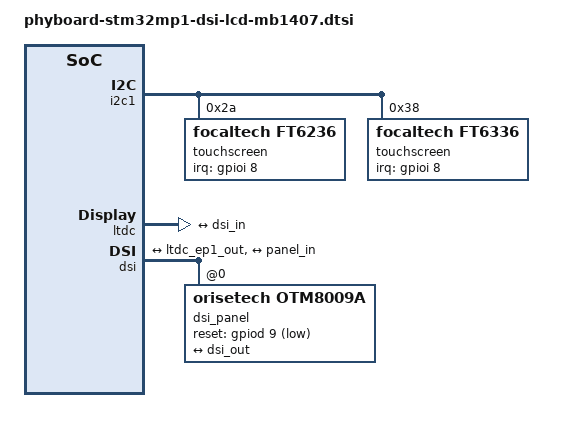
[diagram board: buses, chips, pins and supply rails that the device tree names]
// SPDX-License-Identifier: (GPL-2.0+ OR BSD-3-Clause)
/*
 * Copyright (C) PHYTEC GmbH 2019 - All Rights Reserved
 * Author: Dom VOVARD <dom.vovard@linrt.com>.
 */


&i2c1 {
        status = "okay";
        touchscreen@2a {
                compatible = "focaltech,ft6236";
                reg = <0x2a>;
                interrupts = <8 2>;
                interrupt-parent = <&gpioi>;
                interrupt-controller;
                touchscreen-size-x = <480>;
                touchscreen-size-y = <800>;
                status = "okay";
        };

        touchscreen@38 {
                compatible = "focaltech,ft6336";
                reg = <0x38>;
                interrupts = <8 2>;
                interrupt-parent = <&gpioi>;
                interrupt-controller;
                touchscreen-size-x = <480>;
                touchscreen-size-y = <800>;
                status = "okay";
        };
};

&ltdc {
        dma-ranges;
        status = "okay";

        port {
                #address-cells = <1>;
                #size-cells = <0>;

                ltdc_ep1_out: endpoint@1 {
                        reg = <1>;
                        remote-endpoint = <&dsi_in>;
                };
        };
};

&dsi {
        #address-cells = <1>;
        #size-cells = <0>;
        status = "okay";

        ports {
                #address-cells = <1>;
                #size-cells = <0>;

                port@0 {
                        reg = <0>;
                        dsi_in: endpoint {
                                remote-endpoint = <&ltdc_ep1_out>;
                        };
                };

                port@1 {
                        reg = <1>;
                        dsi_out: endpoint {
                                remote-endpoint = <&panel_in>;
                        };
                };
        };

        dsi_panel:panel@0 {
                compatible = "orisetech,otm8009a";
                reg = <0>;
                reset-gpios = <&gpiod 9 GPIO_ACTIVE_LOW>;
                status = "okay";

                port {
                        panel_in: endpoint {
                                remote-endpoint = <&dsi_out>;
                        };
                };
        };
};
